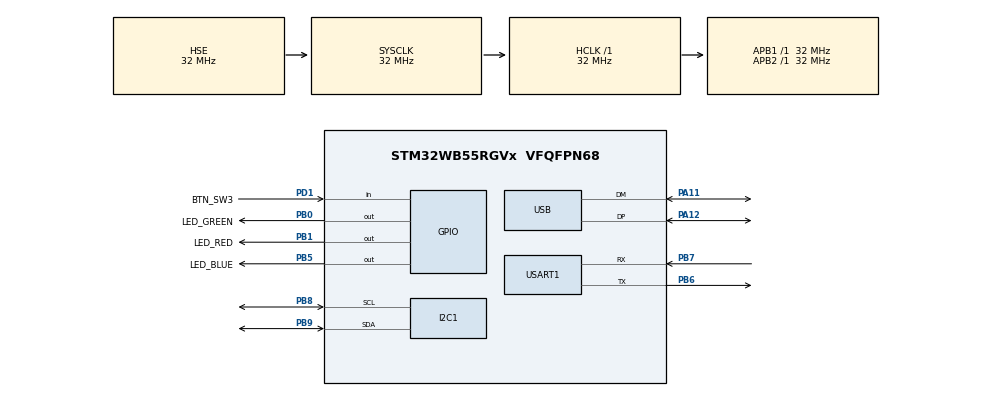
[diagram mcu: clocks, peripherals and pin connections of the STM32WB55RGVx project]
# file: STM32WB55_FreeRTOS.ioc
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FREERTOS.INCLUDE_pcTaskGetTaskName=1
FREERTOS.INCLUDE_xTaskGetHandle=1
FREERTOS.Tasks01=defaultTask,24,128,StartDefaultTask,Default,NULL,Dynamic,NULL,NULL;ledTask,8,128,StartLedTask,Default,NULL,Dynamic,NULL,NULL
FREERTOS.configGENERATE_RUN_TIME_STATS=1
FREERTOS.configTOTAL_HEAP_SIZE=32768
FREERTOS.configUSE_IDLE_HOOK=1
FREERTOS.configUSE_STATS_FORMATTING_FUNCTIONS=1
FREERTOS.configUSE_TICK_HOOK=1
I2C1.Timing=0x00707CBB
IWDG.Prescaler=IWDG_PRESCALER_32
IWDG.Reload=1000
Mcu.Family=STM32WB
Mcu.Name=STM32WB55RGVx
Mcu.Package=VFQFPN68
NVIC.HSEM_IRQn=true\:5\:0\:false\:false\:true\:true\:false\:true\:true
NVIC.PriorityGroup=NVIC_PRIORITYGROUP_4
NVIC.TIM1_UP_TIM16_IRQn=true\:15\:0\:false\:false\:true\:false\:false\:true\:true
NVIC.TimeBase=TIM1_UP_TIM16_IRQn
NVIC.TimeBaseIP=TIM1
NVIC.USB_HP_IRQn=true\:5\:0\:false\:false\:true\:true\:true\:true\:true
NVIC.USB_LP_IRQn=true\:5\:0\:false\:false\:true\:true\:true\:true\:true
OSC_IN.Mode=HSE-External-Oscillator
OSC_IN.Signal=RCC_OSC_IN
OSC_OUT.Mode=HSE-External-Oscillator
OSC_OUT.Signal=RCC_OSC_OUT
PA11.Mode=Device
PA11.Signal=USB_DM
PA12.Mode=Device
PA12.Signal=USB_DP
PA13.Mode=Serial_Wire
PA13.Signal=SYS_JTMS-SWDIO
PA14.Mode=Serial_Wire
PA14.Signal=SYS_JTCK-SWCLK
PB0.GPIO_Label=LED_GREEN
PB0.Signal=GPIO_Output
PB1.GPIO_Label=LED_RED
PB1.Signal=GPIO_Output
PB5.GPIO_Label=LED_BLUE
PB5.Signal=GPIO_Output
PB6.Mode=Asynchronous
PB6.Signal=USART1_TX
PB7.Mode=Asynchronous
PB7.Signal=USART1_RX
PB8.Mode=I2C
PB8.Signal=I2C1_SCL
PB9.Mode=I2C
PB9.Signal=I2C1_SDA
PC14-OSC32_IN.Mode=LSE-External-Oscillator
PC14-OSC32_IN.Signal=RCC_OSC32_IN
PC15-OSC32_OUT.Mode=LSE-External-Oscillator
PC15-OSC32_OUT.Signal=RCC_OSC32_OUT
PD1.GPIO_Label=BTN_SW3
PD1.GPIO_PuPd=GPIO_PULLUP
PD1.Signal=GPIO_Input
ProjectManager.HeapSize=0x1000
ProjectManager.StackSize=0x1000
ProjectManager.TargetToolchain=STM32CubeIDE
RCC.ADCFreq_Value=48000000
RCC.AHBFreq_Value=32000000
RCC.APB1Freq_Value=32000000
RCC.APB1TimFreq_Value=32000000
RCC.APB2Freq_Value=32000000
RCC.APB2TimFreq_Value=32000000
RCC.APB3Freq_Value=16000000
RCC.CortexFreq_Value=32000000
RCC.HCLKFreq_Value=32000000
RCC.HSE_VALUE=32000000
RCC.HSI48_VALUE=48000000
RCC.HSI_VALUE=16000000
RCC.PLLSAI1N=24
RCC.SYSCLKFreq_VALUE=32000000
RCC.SYSCLKSource=RCC_SYSCLKSOURCE_HSE
RCC.USBFreq_Value=48000000
RCC.VCOOutputFreq_Value=32000000
USART1.VirtualMode-Asynchronous=VM_ASYNC
USB_DEVICE.CLASS_NAME_FS=CDC
USB_DEVICE.VirtualMode=Cdc
USB_DEVICE.VirtualModeFS=Cdc_FS
VP_FREERTOS_VS_CMSIS_V2.Mode=CMSIS_V2
VP_HSEM_VS_HSEM.Mode=HSEM_Activate
VP_IPCC_VS_IPCC.Mode=IPCC_Activate
VP_IWDG_VS_IWDG.Mode=IWDG_Activate
VP_RTC_VS_RTC_Activate.Mode=RTC_Enabled
VP_SYS_VS_tim1.Mode=TIM1
VP_USB_DEVICE_VS_USB_DEVICE_CDC_FS.Mode=CDC_FS
board=custom

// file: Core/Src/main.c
/* USER CODE BEGIN Header */
/**
  ******************************************************************************
  * @file           : main.c
  * @brief          : Main program body
  ******************************************************************************
  * @attention
  *
  * Copyright (c) 2022 STMicroelectronics.
  * All rights reserved.
  *
  * This software is licensed under terms that can be found in the LICENSE file
  * in the root directory of this software component.
  * If no LICENSE file comes with this software, it is provided AS-IS.
  *
  ******************************************************************************
  */
/* USER CODE END Header */
#include "main.h"
#include "cmsis_os.h"
#include "i2c.h"
#include "ipcc.h"
#include "rtc.h"
#include "usart.h"
#include "usb_device.h"
#include "gpio.h"

void SystemClock_Config(void);
void PeriphCommonClock_Config(void);
void MX_FREERTOS_Init(void);

/* USER CODE BEGIN 0 */
#ifdef __USBD_CDC_IF_H__
#include "stdio.h"
__attribute__((weak)) int _write(int file, char *ptr, int len)
{
	 if(CDC_Transmit_FS((uint8_t*)ptr,len) != USBD_OK)
	 {
		 Error_Handler();
	 }

	 return len;
}
#endif

#if 0
#include "stdio.h"
__attribute__((weak)) int _write(int file, char *ptr, int len)
{
	 if(HAL_UART_Transmit(&huart1,ptr,len,0xffff) != HAL_OK)
	 {
		 Error_Handler();
	 }

	 return len;
}
#endif

const unsigned char completeVersion[] =
{
    BUILD_YEAR_CH0, BUILD_YEAR_CH1, BUILD_YEAR_CH2, BUILD_YEAR_CH3,
    '-',
    BUILD_MONTH_CH0, BUILD_MONTH_CH1,
    '-',
    BUILD_DAY_CH0, BUILD_DAY_CH1,
    ' ',
    BUILD_HOUR_CH0, BUILD_HOUR_CH1,
    ':',
    BUILD_MIN_CH0, BUILD_MIN_CH1,
    ':',
    BUILD_SEC_CH0, BUILD_SEC_CH1,
    '\0'
};
/* USER CODE END 0 */

int main(void)
{

  /* MCU Configuration--------------------------------------------------------*/

  /* Reset of all peripherals, Initializes the Flash interface and the Systick. */
  HAL_Init();

  /* Configure the system clock */
  SystemClock_Config();

/* Configure the peripherals common clocks */
  PeriphCommonClock_Config();

  /* IPCC initialisation */
   MX_IPCC_Init();

  /* Initialize all configured peripherals */
  MX_GPIO_Init();
  MX_I2C1_Init();
  MX_RTC_Init();
  MX_USART1_UART_Init();
  MX_USB_Device_Init();

  /* Init scheduler */
  osKernelInitialize();  /* Call init function for freertos objects (in freertos.c) */
  MX_FREERTOS_Init();

  /* Start scheduler */
  osKernelStart();

  /* We should never get here as control is now taken by the scheduler */
  /* Infinite loop */
  while (1)
  {

  }
}

void SystemClock_Config(void)
{
  RCC_OscInitTypeDef RCC_OscInitStruct = {0};
  RCC_ClkInitTypeDef RCC_ClkInitStruct = {0};

  /** Macro to configure the PLL multiplication factor
  */
  __HAL_RCC_PLL_PLLM_CONFIG(RCC_PLLM_DIV1);

  /** Macro to configure the PLL clock source
  */
  __HAL_RCC_PLL_PLLSOURCE_CONFIG(RCC_PLLSOURCE_MSI);

  /** Configure LSE Drive Capability
  */
  HAL_PWR_EnableBkUpAccess();
  __HAL_RCC_LSEDRIVE_CONFIG(RCC_LSEDRIVE_LOW);

  /** Configure the main internal regulator output voltage
  */
  __HAL_PWR_VOLTAGESCALING_CONFIG(PWR_REGULATOR_VOLTAGE_SCALE1);

  /** Initializes the RCC Oscillators according to the specified parameters
  * in the RCC_OscInitTypeDef structure.
  */
  RCC_OscInitStruct.OscillatorType = RCC_OSCILLATORTYPE_HSI|RCC_OSCILLATORTYPE_LSI1
                              |RCC_OSCILLATORTYPE_HSE|RCC_OSCILLATORTYPE_LSE
                              |RCC_OSCILLATORTYPE_MSI;
  RCC_OscInitStruct.HSEState = RCC_HSE_ON;
  RCC_OscInitStruct.LSEState = RCC_LSE_ON;
  RCC_OscInitStruct.HSIState = RCC_HSI_ON;
  RCC_OscInitStruct.MSIState = RCC_MSI_ON;
  RCC_OscInitStruct.HSICalibrationValue = RCC_HSICALIBRATION_DEFAULT;
  RCC_OscInitStruct.MSICalibrationValue = RCC_MSICALIBRATION_DEFAULT;
  RCC_OscInitStruct.MSIClockRange = RCC_MSIRANGE_6;
  RCC_OscInitStruct.LSIState = RCC_LSI_ON;
  RCC_OscInitStruct.PLL.PLLState = RCC_PLL_NONE;
  if (HAL_RCC_OscConfig(&RCC_OscInitStruct) != HAL_OK)
  {
    Error_Handler();
  }

  /** Configure the SYSCLKSource, HCLK, PCLK1 and PCLK2 clocks dividers
  */
  RCC_ClkInitStruct.ClockType = RCC_CLOCKTYPE_HCLK4|RCC_CLOCKTYPE_HCLK2
                              |RCC_CLOCKTYPE_HCLK|RCC_CLOCKTYPE_SYSCLK
                              |RCC_CLOCKTYPE_PCLK1|RCC_CLOCKTYPE_PCLK2;
  RCC_ClkInitStruct.SYSCLKSource = RCC_SYSCLKSOURCE_HSE;
  RCC_ClkInitStruct.AHBCLKDivider = RCC_SYSCLK_DIV1;
  RCC_ClkInitStruct.APB1CLKDivider = RCC_HCLK_DIV1;
  RCC_ClkInitStruct.APB2CLKDivider = RCC_HCLK_DIV1;
  RCC_ClkInitStruct.AHBCLK2Divider = RCC_SYSCLK_DIV1;
  RCC_ClkInitStruct.AHBCLK4Divider = RCC_SYSCLK_DIV1;

  if (HAL_RCC_ClockConfig(&RCC_ClkInitStruct, FLASH_LATENCY_1) != HAL_OK)
  {
    Error_Handler();
  }

  /** Enable MSI Auto calibration
  */
  HAL_RCCEx_EnableMSIPLLMode();
}

void PeriphCommonClock_Config(void)
{
  RCC_PeriphCLKInitTypeDef PeriphClkInitStruct = {0};

  /** Initializes the peripherals clock
  */
  PeriphClkInitStruct.PeriphClockSelection = RCC_PERIPHCLK_SMPS;
  PeriphClkInitStruct.SmpsClockSelection = RCC_SMPSCLKSOURCE_HSI;
  PeriphClkInitStruct.SmpsDivSelection = RCC_SMPSCLKDIV_RANGE1;

  if (HAL_RCCEx_PeriphCLKConfig(&PeriphClkInitStruct) != HAL_OK)
  {
    Error_Handler();
  }
}

void HAL_TIM_PeriodElapsedCallback(TIM_HandleTypeDef *htim)
{
  if (htim->Instance == TIM1) {
    HAL_IncTick();
  }
}

void Error_Handler(void)
{
  __disable_irq();
  while (1)
  {
  }
}

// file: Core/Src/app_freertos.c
/* USER CODE BEGIN Header */
/**
  ******************************************************************************
  * File Name          : app_freertos.c
  * Description        : Code for freertos applications
  ******************************************************************************
  * @attention
  *
  * Copyright (c) 2022 STMicroelectronics.
  * All rights reserved.
  *
  * This software is licensed under terms that can be found in the LICENSE file
  * in the root directory of this software component.
  * If no LICENSE file comes with this software, it is provided AS-IS.
  *
  ******************************************************************************
  */
/* USER CODE END Header */

#include "FreeRTOS.h"
#include "task.h"
#include "main.h"
#include "cmsis_os.h"

/* USER CODE BEGIN Includes */
extern void vRegisterSampleCLICommands( void  );
extern void vUARTCommandConsoleStart( uint16_t usStackSize, UBaseType_t uxPriority  );
/* USER CODE END Includes */

/* Definitions for defaultTask */
osThreadId_t defaultTaskHandle;
const osThreadAttr_t defaultTask_attributes = {
  .name = "defaultTask",
  .priority = (osPriority_t) osPriorityNormal,
  .stack_size = 128 * 4
};
/* Definitions for ledTask */
osThreadId_t ledTaskHandle;
const osThreadAttr_t ledTask_attributes = {
  .name = "ledTask",
  .priority = (osPriority_t) osPriorityLow,
  .stack_size = 128 * 4
};

void StartDefaultTask(void *argument);
void StartLedTask(void *argument);

void MX_FREERTOS_Init(void); /* (MISRA C 2004 rule 8.1) */

/* Hook prototypes */
void configureTimerForRunTimeStats(void);
unsigned long getRunTimeCounterValue(void);
void vApplicationIdleHook(void);
void vApplicationTickHook(void);

/* USER CODE BEGIN 1 */
/* Functions needed when configGENERATE_RUN_TIME_STATS is on */
__weak void configureTimerForRunTimeStats(void)
{

}

__weak unsigned long getRunTimeCounterValue(void)
{
return 0;
}
/* USER CODE END 1 */

/* USER CODE BEGIN 2 */
void vApplicationIdleHook( void )
{
   /* vApplicationIdleHook() will only be called if configUSE_IDLE_HOOK is set
   to 1 in FreeRTOSConfig.h. It will be called on each iteration of the idle
   task. It is essential that code added to this hook function never attempts
   to block in any way (for example, call xQueueReceive() with a block time
   specified, or call vTaskDelay()). If the application makes use of the
   vTaskDelete() API function (as this demo application does) then it is also
   important that vApplicationIdleHook() is permitted to return to its calling
   function, because it is the responsibility of the idle task to clean up
   memory allocated by the kernel to any task that has since been deleted. */
}
/* USER CODE END 2 */

/* USER CODE BEGIN 3 */
void vApplicationTickHook( void )
{
   /* This function will be called by each tick interrupt if
   configUSE_TICK_HOOK is set to 1 in FreeRTOSConfig.h. User code can be
   added here, but the tick hook is called from an interrupt context, so
   code must not attempt to block, and only the interrupt safe FreeRTOS API
   functions can be used (those that end in FromISR()). */
}
/* USER CODE END 3 */

void MX_FREERTOS_Init(void) {

  /* USER CODE BEGIN RTOS_QUEUES */
	vRegisterSampleCLICommands();
	vUARTCommandConsoleStart(256, (UBaseType_t) osPriorityLow);
  /* USER CODE END RTOS_QUEUES */

  /* Create the thread(s) */
  /* creation of defaultTask */
  defaultTaskHandle = osThreadNew(StartDefaultTask, NULL, &defaultTask_attributes);

  /* creation of ledTask */
  ledTaskHandle = osThreadNew(StartLedTask, NULL, &ledTask_attributes);

}

void StartDefaultTask(void *argument)
{
  /* USER CODE BEGIN StartDefaultTask */
  /* Infinite loop */
	MX_IWDG_Init();
	/* Infinite loop */
	for(;;)
	{
		HAL_IWDG_Refresh(&hiwdg);
		osDelay(750);
	}
  /* USER CODE END StartDefaultTask */
}

void StartLedTask(void *argument)
{
  /* USER CODE BEGIN StartLedTask */
  /* Infinite loop */
	for(;;)
	{
	  HAL_GPIO_TogglePin(GPIOB,LED_GREEN_Pin);
	  osDelay(500);
	}
  /* USER CODE END StartLedTask */
}
